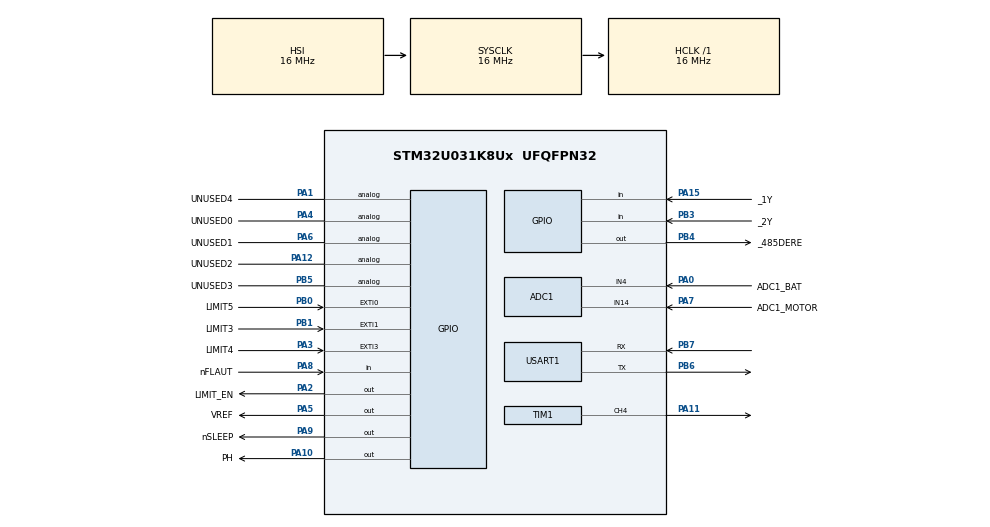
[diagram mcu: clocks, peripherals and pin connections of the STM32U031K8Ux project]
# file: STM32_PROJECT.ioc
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ADC1.Channel-1\#ChannelRegularConversion=ADC_CHANNEL_4
ADC1.Channel-2\#ChannelRegularConversion=ADC_CHANNEL_14
ADC1.ClockPrescaler=ADC_CLOCK_SYNC_PCLK_DIV4
ADC1.Channel-3\#ChannelRegularConversion=ADC_CHANNEL_VREFINT
ADC1.Rank-3\#ChannelRegularConversion=3
ADC1.RankArg-3\#ChannelRegularConversion=ADC_REGULAR_RANK_3
ADC1.SamplingTime-3\#ChannelRegularConversion=ADC_SAMPLINGTIME_COMMON_2
ADC1.LowPowerAutoWait=ENABLE
ADC1.NbrOfConversion=3
ADC1.NbrOfConversionFlag=1
ADC1.Rank-1\#ChannelRegularConversion=1
ADC1.Rank-2\#ChannelRegularConversion=2
ADC1.RankArg-1\#ChannelRegularConversion=ADC_REGULAR_RANK_1
ADC1.RankArg-2\#ChannelRegularConversion=ADC_REGULAR_RANK_2
ADC1.SamplingTime-1\#ChannelRegularConversion=ADC_SAMPLINGTIME_COMMON_1
ADC1.SamplingTime-2\#ChannelRegularConversion=ADC_SAMPLINGTIME_COMMON_2
ADC1.SamplingTimeCommon1=ADC_SAMPLETIME_160CYCLES_5
ADC1.SamplingTimeCommon2=ADC_SAMPLETIME_160CYCLES_5
ADC1.SelectedChannel=ADC_CHANNEL_4|ADC_CHANNEL_14|ADC_CHANNEL_VREFINT
ADC1.master=1
Mcu.Family=STM32U0
Mcu.Name=STM32U031K8Ux
Mcu.Package=UFQFPN32
NVIC.EXTI0_1_IRQn=true\:0\:0\:false\:false\:true\:true\:true\:true
NVIC.EXTI2_3_IRQn=true\:0\:0\:false\:false\:true\:true\:true\:true
NVIC.PriorityGroup=NVIC_PRIORITYGROUP_2
NVIC.USART1_IRQn=true\:1\:0\:true\:false\:true\:true\:true\:true
PA0-CK_IN.GPIO_Label=ADC1_BAT
PA0-CK_IN.Mode=IN4
PA0-CK_IN.Signal=ADC1_IN4
PA1.GPIO_Label=UNUSED4
PA1.Signal=GPIO_Analog
PA10.GPIO_Label=PH
PA10.Signal=GPIO_Output
PA11\ [PA9].Signal=S_TIM1_CH4
PA12\ [PA10].GPIO_Label=UNUSED2
PA12\ [PA10].Signal=GPIO_Analog
PA13\ (SWDIO).Mode=Serial_Wire
PA13\ (SWDIO).Signal=DEBUG_JTMS-SWDIO
PA14\ (SWCLK).Mode=Serial_Wire
PA14\ (SWCLK).Signal=DEBUG_JTCK-SWCLK
PA15.GPIO_Label=_1Y
PA15.Signal=GPIO_Input
PA2.GPIO_Label=LIMIT_EN
PA2.Signal=GPIO_Output
PA3.GPIO_Label=LIMIT4
PA3.GPIO_ModeDefaultEXTI=GPIO_MODE_IT_RISING_FALLING
PA3.Signal=GPXTI3
PA4.GPIO_Label=UNUSED0
PA4.Signal=GPIO_Analog
PA5.GPIO_Label=VREF
PA5.GPIO_PuPd=GPIO_NOPULL
PA5.Signal=GPIO_Output
PA6.GPIO_Label=UNUSED1
PA6.Signal=GPIO_Analog
PA7.GPIO_Label=ADC1_MOTOR
PA7.Mode=IN14
PA7.Signal=ADC1_IN14
PA8.GPIO_Label=nFLAUT
PA8.Signal=GPIO_Input
PA9.GPIO_Label=nSLEEP
PA9.Signal=GPIO_Output
PB0.GPIO_Label=LIMIT5
PB0.GPIO_ModeDefaultEXTI=GPIO_MODE_IT_RISING_FALLING
PB0.Signal=GPXTI0
PB1.GPIO_Label=LIMIT3
PB1.GPIO_ModeDefaultEXTI=GPIO_MODE_IT_RISING_FALLING
PB1.Signal=GPXTI1
PB3.GPIO_Label=_2Y
PB3.Signal=GPIO_Input
PB4.GPIO_Label=_485DE\\RE
PB4.Signal=GPIO_Output
PB5.GPIO_Label=UNUSED3
PB5.Signal=GPIO_Analog
PB6.Mode=Asynchronous
PB6.Signal=USART1_TX
PB7.Mode=Asynchronous
PB7.Signal=USART1_RX
PC14-OSC32_IN.Mode=LSE-External-Oscillator
PC14-OSC32_IN.Signal=RCC_OSC32_IN
PC15-OSC32_OUT.Mode=LSE-External-Oscillator
PC15-OSC32_OUT.Signal=RCC_OSC32_OUT
ProjectManager.HeapSize=0x200
ProjectManager.StackSize=0x400
ProjectManager.TargetToolchain=STM32CubeIDE
RCC.ADCFreq_Value=16000000
RCC.AHBFreq_Value=16000000
RCC.CortexFreq_Value=16000000
RCC.HCLKFreq_Value=16000000
RCC.HSE_VALUE=4000000
RCC.HSI48_VALUE=48000000
RCC.HSI_VALUE=16000000
RCC.MSI_VALUE=4000000
RCC.PLLN=7
RCC.RTCClockSelection=RCC_RTCCLKSOURCE_LSE
RCC.SYSCLKFreq_VALUE=16000000
RCC.USART1CLockSelection=RCC_USART1CLKSOURCE_HSI
RCC.VCOOutputFreq_Value=112000000
SH.S_TIM1_CH4.0=TIM1_CH4,PWM Generation4 CH4
TIM1.Channel-PWM\ Generation4\ CH4=TIM_CHANNEL_4
TIM1.Period=799
TIM1.Pulse-PWM\ Generation4\ CH4=0
USART1.VirtualMode-Asynchronous=VM_ASYNC
VP_PWR_VS_SECSignals.Mode=Security/Privilege
VP_RTC_VS_RTC_Activate.Mode=RTC_Enabled
VP_TIM1_VS_ClockSourceINT.Mode=Internal
board=custom
VP_ADC1_Vref_Input.Mode=IN-Vrefint

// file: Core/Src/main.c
/* USER CODE BEGIN Header */
/**
  ******************************************************************************
  * @file           : main.c
  * @brief          : Main program body
  ******************************************************************************
  * @attention
  *
  * Copyright (c) 2026 STMicroelectronics.
  * All rights reserved.
  *
  * This software is licensed under terms that can be found in the LICENSE file
  * in the root directory of this software component.
  * If no LICENSE file comes with this software, it is provided AS-IS.
  *
  ******************************************************************************
  */
/* USER CODE END Header */
#include "main.h"
#include "adc.h"
#include "rtc.h"
#include "tim.h"
#include "usart.h"
#include "gpio.h"

/* USER CODE BEGIN Includes */
#include <stdio.h>
#include <string.h>
#include "valve_control.h"
#include "valve_port.h"
#include "rs485_rx.h"
#include "battery_monitor.h"
#include "app_status.h"
#include "power_manager.h"
#include "power_port.h"
#include "limit_power.h"
#include "comm_port.h"
#include "valve_comm_service.h"

/* USER CODE END Includes */

/* USER CODE BEGIN PD */
/* Battery conversion and acquisition are owned by battery_monitor. */

/* USER CODE END PD */

/* USER CODE BEGIN PV */
/* Inspect these variables in the debugger if no text reaches the PC. */
volatile uint32_t rs485_tx_count = 0;
volatile uint32_t rs485_tx_errors = 0;
volatile HAL_StatusTypeDef rs485_last_status = HAL_OK;
volatile uint32_t rs485_rx_bytes = 0;
volatile uint32_t rs485_rx_errors = 0;
#if !VALVE_MODBUS_ENABLE
static char command_buffer[32];
static uint32_t command_length = 0;
static uint8_t command_overflow = 0;
#endif
volatile HAL_StatusTypeDef adc_cal_status = HAL_ERROR;
volatile HAL_StatusTypeDef adc_last_status = HAL_ERROR;
volatile uint32_t adc_bat_raw = 0;
volatile uint32_t adc_motor_raw = 0;
volatile uint32_t bat_sys_mv = 0;
static uint8_t valve_initialized = 0;

/* USER CODE END PV */

void SystemClock_Config(void);
/* USER CODE BEGIN PFP */
#if !VALVE_MODBUS_ENABLE
static HAL_StatusTypeDef RS485_Send(const uint8_t *data, uint16_t length);
static void RS485_Reply(const char *text);
static void RS485_ProcessInput(void);
static void SendStatus(void);
static void Service_Wait(uint32_t duration_ms);
#endif
static void Valve_Service(void);
static void Power_Idle(void);

/* USER CODE END PFP */

int main(void)
{

  /* MCU Configuration--------------------------------------------------------*/

  /* Reset of all peripherals, Initializes the Flash interface and the Systick. */
  HAL_Init();
  MX_GPIO_Init(); /* Safe driver outputs before clock/peripheral setup. */

  /* USER CODE BEGIN Init */
#if VALVE_MODBUS_ENABLE && VALVE_COMM_9V_ENABLE
  CommPower_Init(); /* Preload PA1 low before configuring it as output. */
#endif

  /* USER CODE END Init */

  /* Configure the system clock */
  SystemClock_Config();

  /* Initialize all configured peripherals */
  MX_ADC1_Init();
  MX_TIM1_Init();
  MX_USART1_UART_Init();
  MX_RTC_Init();
  /* USER CODE BEGIN 2 */
  /* Detection starts enabled; automatic management runs only after safety service. */
  HAL_GPIO_WritePin(nSLEEP_GPIO_Port, nSLEEP_Pin, GPIO_PIN_RESET);
  HAL_GPIO_WritePin(VREF_GPIO_Port, VREF_Pin, GPIO_PIN_RESET);
  LimitPower_Init(HAL_GetTick());
  HAL_GPIO_WritePin(_485DE_RE_GPIO_Port, _485DE_RE_Pin, GPIO_PIN_RESET);
  adc_cal_status = HAL_ADCEx_Calibration_Start(&hadc1);
  HAL_Delay(100); /* Existing limit-circuit RC settling, with drive asleep. */
  ValvePort_Init();
  Valve_Init(HAL_GetTick());
#if VALVE_MODBUS_ENABLE
  ValveComm_Init();
#else
  RS485_RxInit();
#endif
  Battery_Init(HAL_GetTick(), adc_cal_status == HAL_OK);
  AppStatus_Init();
  PowerManager_Init();
  valve_initialized = 1;
  Valve_Service(); /* Sample safety first; digital control defaults on. */

  /* USER CODE END 2 */

  /* Infinite loop */
  while (1)
  {

    /* USER CODE BEGIN 3 */
    Valve_Service();
#if VALVE_MODBUS_ENABLE
    AppStatus snapshot;
    uint32_t now = HAL_GetTick();
    AppStatus_Get(now, &snapshot);
    ValveComm_Service(now, &snapshot,
        !Valve_CanSleep(now) || !LimitPower_CanSleep() ||
        ValvePort_DriverAwake() || ValvePort_Duty() ||
        ValvePort_EventPending() || ((EXTI->RPR1 | EXTI->FPR1) & (LIMIT4_Pin | LIMIT5_Pin)));
#else
    RS485_ProcessInput();
#endif
    Power_Idle(); /* Wake returns to fresh safety sampling at loop start. */
  }
  /* USER CODE END 3 */
}

void SystemClock_Config(void)
{
  RCC_OscInitTypeDef RCC_OscInitStruct = {0};
  RCC_ClkInitTypeDef RCC_ClkInitStruct = {0};

  /** Configure the main internal regulator output voltage
  */
  HAL_PWREx_ControlVoltageScaling(PWR_REGULATOR_VOLTAGE_SCALE2);

  /** Configure LSE Drive Capability
  */
  HAL_PWR_EnableBkUpAccess();
  __HAL_RCC_LSEDRIVE_CONFIG(RCC_LSEDRIVE_LOW);

  /** Initializes the RCC Oscillators according to the specified parameters
  * in the RCC_OscInitTypeDef structure.
  */
  RCC_OscInitStruct.OscillatorType = RCC_OSCILLATORTYPE_HSI|RCC_OSCILLATORTYPE_LSE;
  RCC_OscInitStruct.LSEState = RCC_LSE_ON;
  RCC_OscInitStruct.HSIState = RCC_HSI_ON;
  RCC_OscInitStruct.HSICalibrationValue = RCC_HSICALIBRATION_DEFAULT;
  RCC_OscInitStruct.PLL.PLLState = RCC_PLL_NONE;
  if (HAL_RCC_OscConfig(&RCC_OscInitStruct) != HAL_OK)
  {
    Error_Handler();
  }

  /** Initializes the CPU, AHB and APB buses clocks
  */
  RCC_ClkInitStruct.ClockType = RCC_CLOCKTYPE_HCLK|RCC_CLOCKTYPE_SYSCLK
                              |RCC_CLOCKTYPE_PCLK1;
  RCC_ClkInitStruct.SYSCLKSource = RCC_SYSCLKSOURCE_HSI;
  RCC_ClkInitStruct.AHBCLKDivider = RCC_SYSCLK_DIV1;
  RCC_ClkInitStruct.APB1CLKDivider = RCC_HCLK_DIV1;

  if (HAL_RCC_ClockConfig(&RCC_ClkInitStruct, FLASH_LATENCY_1) != HAL_OK)
  {
    Error_Handler();
  }
}

/* USER CODE BEGIN 4 */
static void Valve_Service(void)
{
  ValveInputs inputs;
  if (!valve_initialized) return;
  uint32_t observed_generation = PowerManager_EventGeneration();
  ValvePort_Read(&inputs);
  uint32_t now = HAL_GetTick();
  Valve_Step(now, &inputs); /* Safety always runs before ADC work. */
  LimitPower_Service(now,&inputs,Valve_Get(),Valve_CanSleep(now),observed_generation);
  inputs.limits_invalid=!LimitPower_Valid(); /* Publish a domain change in this same snapshot. */
#if POWER_LOW_POWER_MODE == 2
  if (PowerPort_TakeStopWake()) Battery_AfterStop(now);
#endif
  Battery_Service(now);
  AppStatus_Publish(now, &inputs,
      HAL_GPIO_ReadPin(LIMIT3_GPIO_Port, LIMIT3_Pin) == GPIO_PIN_SET,
      HAL_GPIO_ReadPin(nFLAUT_GPIO_Port, nFLAUT_Pin) == GPIO_PIN_SET,
      HAL_GPIO_ReadPin(nSLEEP_GPIO_Port, nSLEEP_Pin) == GPIO_PIN_SET,
      HAL_GPIO_ReadPin(VREF_GPIO_Port, VREF_Pin) == GPIO_PIN_SET,
      ValvePort_Duty());
  PowerManager_MarkServiced(observed_generation, PowerManager_Signature(&inputs));
}

static void Power_Idle(void)
{
  if (!valve_initialized) return;
  uint32_t now = HAL_GetTick();
  const ValveStatus *valve = Valve_Get();
  uint32_t budget = Battery_SleepBudget(now);
  uint8_t adc_busy = budget==0;
#if POWER_LOW_POWER_MODE == 2
  adc_busy |= !Battery_CanStop(); /* Finish first post-boot/post-wake sample. */
#endif
  PowerRequest request = {
    .motor_running = ValvePort_Duty()!=0 || ValvePort_DriverAwake() ||
                     valve->state==VALVE_OPENING || valve->state==VALVE_CLOSING,
    .safety_pending = valve->safety_close_pending,
    .valve_busy = !Valve_CanSleep(now), /* Includes input qualification/deferred direction. */
    .adc_busy = adc_busy,
#if VALVE_MODBUS_ENABLE
    .uart_busy = ValveComm_Busy(),
#else
    .uart_busy = RS485_RxBusy() || command_length!=0 || command_overflow!=0,
#endif
    .inputs_busy = !LimitPower_CanSleep(),
    .sleep_ms = budget
  };
  (void)PowerManager_TrySleep(&request);
}

#if !VALVE_MODBUS_ENABLE
static void Service_Wait(uint32_t duration_ms)
{
  uint32_t start = HAL_GetTick();
  while ((uint32_t)(HAL_GetTick() - start) < duration_ms) Valve_Service();
}

static void RS485_Reply(const char *text)
{
  Service_Wait(2);
  rs485_last_status = RS485_Send((const uint8_t *)text, (uint16_t)strlen(text));
  if (rs485_last_status == HAL_OK) rs485_tx_count++;
  else rs485_tx_errors++;
}

static void RS485_ProcessInput(void)
{
  uint8_t byte;
  int rx = RS485_RxPoll(&byte);
  Valve_Service();
  if (rx != 1)
  {
    if (rx < 0)
    {
      rs485_rx_errors++;
      /* Discard through LF. Communication never cancels safety closure. */
      command_length = 0; command_overflow = 1;
    }
    return;
  }
  rs485_rx_bytes++;
  if (byte == '\r') return;
  if (byte != '\n')
  {
    if (!command_overflow)
    {
      if (byte < 32U || byte > 126U || command_length >= sizeof(command_buffer) - 1U)
        command_overflow = 1;
      else command_buffer[command_length++] = (char)byte;
    }
    return;
  }
  if (command_overflow) RS485_Reply("ERR invalid or too long command\r\n");
  else if (command_length)
  {
    uint8_t accepted = 0;
    command_buffer[command_length] = '\0';
    if (strcmp(command_buffer, "PING") == 0) RS485_Reply("PONG\r\n");
    else if (strcmp(command_buffer, "STATUS") == 0) SendStatus();
    else if (strcmp(command_buffer, "DINON") == 0)
    {
      accepted = Valve_SetDigital(1, HAL_GetTick());
      RS485_Reply(accepted ? "DIN=ON\r\n" : "ERR safety/fault\r\n");
    }
    else if (strcmp(command_buffer, "STOP") == 0 || strcmp(command_buffer, "SLEEP") == 0 ||
             strcmp(command_buffer, "DINOFF") == 0)
    {
      accepted = Valve_SetDigital(0, HAL_GetTick());
      RS485_Reply(accepted ? "MOTOR STOP; DIN=OFF\r\n" : "ERR safety close has priority\r\n");
    }
    else if (strcmp(command_buffer, "RUNA") == 0 || strcmp(command_buffer, "RUNB") == 0 ||
             strcmp(command_buffer, "JOGA") == 0 || strcmp(command_buffer, "JOGB") == 0)
    {
      uint8_t jog = command_buffer[0] == 'J';
      uint8_t open = command_buffer[3] == 'A';
      accepted = Valve_Request(open ? VALVE_DIR_OPEN : VALVE_DIR_CLOSE, jog ? 100U : 0U, jog ? 50U : 100U);
      Valve_Service();
      RS485_Reply(accepted ? "MOTOR request accepted; safety arbiter active\r\n" : "ERR busy/safety/fault\r\n");
    }
    else if (strcmp(command_buffer, "FAULTCLR") == 0)
    {
      ValveInputs inputs;
      ValvePort_Read(&inputs);
      /* Reset requires a physically healthy nFAULT, including while asleep. */
      inputs.driver_fault = HAL_GPIO_ReadPin(nFLAUT_GPIO_Port, nFLAUT_Pin) == GPIO_PIN_RESET;
      accepted = Valve_ClearFaults(HAL_GetTick(), &inputs);
      /* Never lose an event consumed while checking a rejected reset. */
      Valve_Step(HAL_GetTick(), &inputs);
      RS485_Reply(accepted ? "FAULTCLR OK; history retained; low input required to reopen\r\n" :
                            "ERR fault reset conditions not met\r\n");
    }
    else if (strcmp(command_buffer, "PWM0") == 0 || strcmp(command_buffer, "PWM25") == 0 ||
             strcmp(command_buffer, "PWM50") == 0 || strcmp(command_buffer, "PWM75") == 0 ||
             strcmp(command_buffer, "VREFON") == 0 || strcmp(command_buffer, "WAKE") == 0)
      RS485_Reply("ERR raw driver tests disabled in phase1; use guarded RUN/JOG\r\n");
    else RS485_Reply("ERR use PING STATUS DINON DINOFF STOP RUNA RUNB JOGA JOGB FAULTCLR\r\n");
  }
  command_length = 0; command_overflow = 0;
}

static void SendStatus(void)
{
  AppStatus snapshot;
  char message[640];
  char adc_message[256];
  AppStatus_Get(HAL_GetTick(), &snapshot);
  const BatteryStatus *battery = &snapshot.battery;
  const ValveStatus *valve = &snapshot.valve;
  /* Debugger compatibility: these are cached last-good values, not new samples. */
  adc_bat_raw = battery->bat_raw;
  adc_motor_raw = battery->motor_raw;
  bat_sys_mv = battery->millivolts;
  adc_last_status = battery->valid ? HAL_OK : HAL_ERROR;
  int adc_length = snprintf(adc_message, sizeof(adc_message),
      "ADC=%s BAT_RAW=%u BAT_SYS=%lumV MOTOR_RAW=%u VDDA=%lumV VREF_RAW=%u "
      "BAT_VALID=%u BAT_HAS=%u BAT_UPDATED=%lu BAT_AGE=%lu BAT_SEQ=%lu ADC_RESULT=%s ADC_FAILURES=%lu",
      battery->valid ? "OK" : "ERR", (unsigned int)battery->bat_raw,
      (unsigned long)battery->millivolts, (unsigned int)battery->motor_raw,
      (unsigned long)battery->vdda_mv, (unsigned int)battery->vref_raw,
      (unsigned int)battery->valid, (unsigned int)battery->has_value,
      (unsigned long)battery->updated_ms, (unsigned long)battery->age_ms,
      (unsigned long)battery->sequence, Battery_ResultName(battery->result),
      (unsigned long)battery->failures);
  if (adc_length <= 0 || (size_t)adc_length >= sizeof(adc_message))
  { RS485_Reply("ERR ADC status formatting\r\n"); return; }
  int length = snprintf(message, sizeof(message),
      "STATUS count=%lu L1=%u L2=%u L3=%u L4=%u L5=%u nFAULT=%u %s PWM=%lu%% "
      "nSLEEP=%u VREF_EN=%u DIN=%u STATE=%s CURRENT=0x%lX LATCHED=0x%lX HISTORY=0x%lX "
      "SAFE_PENDING=%u SAFE_INCOMPLETE=%u OPEN_OK=%u SNAP_MS=%lu LIM_VALID=%u\r\n",
      (unsigned long)rs485_tx_count,
      (unsigned int)snapshot.inputs.open_limit, (unsigned int)snapshot.inputs.close_limit,
      (unsigned int)snapshot.limit3, (unsigned int)snapshot.inputs.wire_break,
      (unsigned int)snapshot.inputs.request_open, (unsigned int)snapshot.nfault, adc_message,
      (unsigned long)snapshot.pwm_percent, (unsigned int)snapshot.nsleep,
      (unsigned int)snapshot.vref_enabled, (unsigned int)valve->digital_enabled,
      Valve_StateName(valve->state), (unsigned long)valve->current_faults,
      (unsigned long)valve->latched_faults, (unsigned long)valve->history_faults,
      (unsigned int)valve->safety_close_pending,
      (unsigned int)((valve->latched_faults & VALVE_FAULT_SAFETY_INCOMPLETE) != 0),
      (unsigned int)valve->opening_permitted, (unsigned long)snapshot.captured_ms,
      (unsigned int)!snapshot.inputs.limits_invalid);
  if (length > 0 && (size_t)length < sizeof(message)) RS485_Reply(message);
  else RS485_Reply("ERR status formatting\r\n");
}

static HAL_StatusTypeDef RS485_Send(const uint8_t *data, uint16_t length)
{
  HAL_StatusTypeDef tx = HAL_OK;
  uint32_t start;
  HAL_GPIO_WritePin(_485DE_RE_GPIO_Port, _485DE_RE_Pin, GPIO_PIN_SET);
  Service_Wait(1);
  start = HAL_GetTick();
  /* Keep the ASCII protocol and TC-complete direction release; service control
     between bytes so diagnostics cannot suspend limits/timeout/safe closure. */
  for (uint16_t i = 0; i < length; ++i)
  {
    Valve_Service();
    tx = HAL_UART_Transmit(&huart1, &data[i], 1U, 2U);
    Valve_Service();
    if (tx != HAL_OK) break;
    if ((uint32_t)(HAL_GetTick() - start) >= 100U) { tx = HAL_TIMEOUT; break; }
  }
  HAL_GPIO_WritePin(_485DE_RE_GPIO_Port, _485DE_RE_Pin, GPIO_PIN_RESET);
  return tx;
}

#endif
/* USER CODE END 4 */

void Error_Handler(void)
{
  /* USER CODE BEGIN Error_Handler_Debug */
  /* User can add his own implementation to report the HAL error return state */
  ValvePort_EmergencyOff();
  CommPort_EmergencyOff();
  while (1)
  {
  }
  /* USER CODE END Error_Handler_Debug */
}
